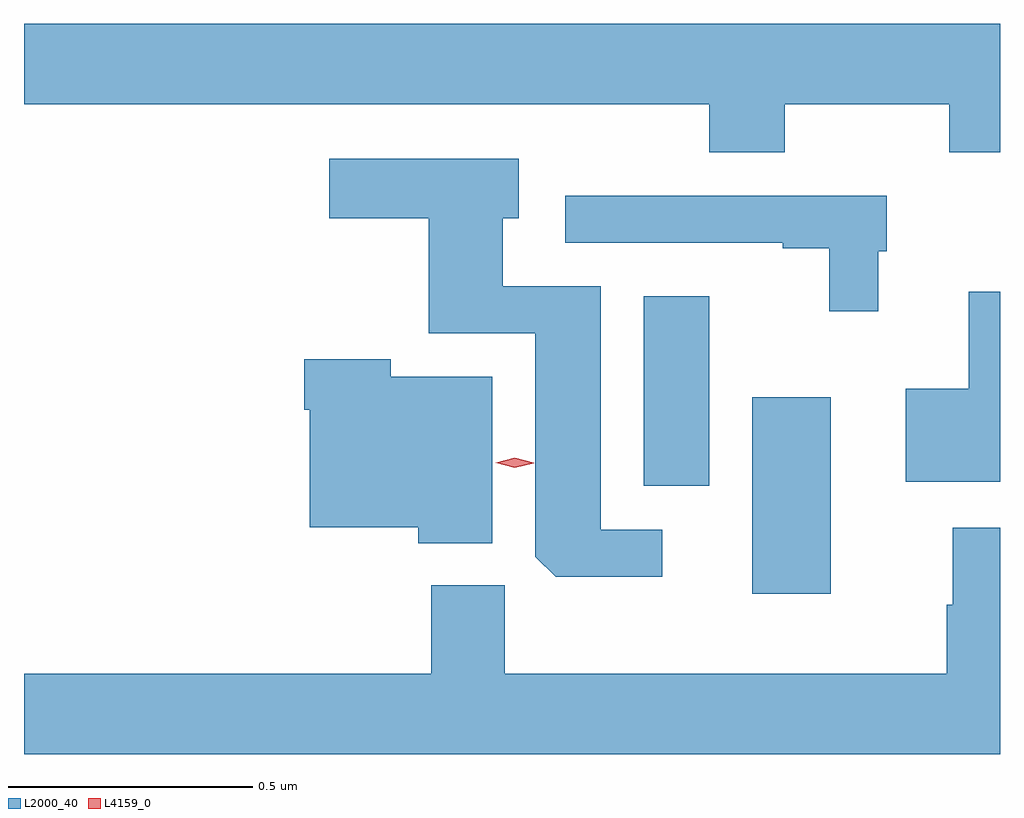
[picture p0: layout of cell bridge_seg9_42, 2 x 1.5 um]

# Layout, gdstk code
import gdstk
lib = gdstk.Library(unit=1e-6, precision=1e-09)
def R(c, l, rs):  # rectangles x0, y0, x1, y1
    for r in rs: c.add(gdstk.rectangle(r[:2], r[2:], *l))
def P(c, l, *ps):  # polygons
    for p in ps: c.add(gdstk.Polygon(p, *l))
L2000_40 = (2000, 40)
L4159_0 = (4159, 0)

bridge_seg9_42 = lib.new_cell('bridge_seg9_42')
R(bridge_seg9_42, L2000_40, [(972.332,1208.736,972.493,1209.139), (972.11,1208.958,972.244,1209.346)])
P(bridge_seg9_42, L2000_40, [(970.84,1209.74),(972.244,1209.74),(972.244,1209.641),(972.399,1209.641),(972.399,1209.74),(972.736,1209.74),(972.736,1209.641),(972.84,1209.641),(972.84,1209.904),(970.84,1209.904)],
  [(972.148,1208.868),(972.022,1208.868),(972.022,1209.367),(971.821,1209.367),(971.821,1209.506),(971.854,1209.506),(971.854,1209.628),(971.466,1209.628),(971.466,1209.506),(971.669,1209.506),(971.669,1209.27),(971.888,1209.27),(971.888,1208.812),(971.93,1208.771),(972.148,1208.771)],
  [(972.59,1209.438),(972.608,1209.438),(972.608,1209.552),(971.949,1209.552),(971.949,1209.456),(972.395,1209.456),(972.395,1209.444),(972.49,1209.444),(972.49,1209.315),(972.59,1209.315)],
  [(972.84,1209.355),(972.776,1209.355),(972.776,1209.157),(972.647,1209.157),(972.647,1208.966),(972.84,1208.966)],
  [(971.8,1209.181),(971.592,1209.181),(971.592,1209.217),(971.414,1209.217),(971.414,1209.113),(971.426,1209.113),(971.426,1208.873),(971.648,1208.873),(971.648,1208.84),(971.8,1208.84)],
  [(972.84,1208.872),(972.743,1208.872),(972.743,1208.714),(972.731,1208.714),(972.731,1208.572),(971.825,1208.572),(971.825,1208.754),(971.675,1208.754),(971.675,1208.572),(970.84,1208.572),(970.84,1208.408),(972.84,1208.408)])
P(bridge_seg9_42, L4159_0, [(971.846,1208.995),(971.807,1209.005),(971.807,1209.005),(971.807,1209.005),(971.846,1209.015),(971.885,1209.005),(971.885,1209.005),(971.885,1209.004)])

lib.write_gds('bridge_seg9_42.gds')
